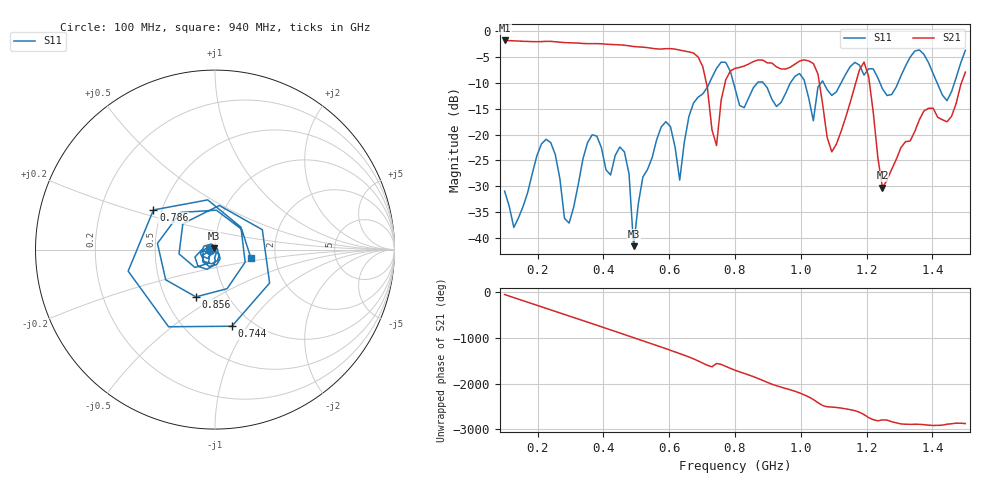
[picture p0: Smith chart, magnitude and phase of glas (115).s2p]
! NanoVNA-App
! Date: 2025-09-25 15:56:22
! Start: 100MHz Stop: 1,5GHz Points: 101
! S-Parameter data: F S11 S21 S12 S22
# Hz S RI R 50
!  Frequency  S11_Real  S11_Imag  S21_Real  S21_Imag  S12_Real  S12_Imag  S22_Real  S22_Imag
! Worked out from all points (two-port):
!   101 points, 100 MHz to 1.5 GHz, reference 50 ohm
!   highest |S21| = -1.80 dB at 100 MHz (marker M1); lowest = -30.3 dB at 1.248 GHz (marker M2)
!   |S21| within 3 dB of the highest: start of sweep to 684.2 MHz
!   lowest |S11| = -41.6 dB at 492 MHz (marker M3), VSWR 1.02, Z = 49.5 + j0.635 ohm
!   |S11| at or under -10 dB: start of sweep to 722.4 MHz; 795.5 MHz to 867.9 MHz (72.47 MHz wide, 8.71 % of centre); 886.1 MHz to 968.2 MHz (82.11 MHz wide, 8.86 % of centre) (the widest 3 of 7)
!   S12 and S22 are empty: the file has one direction only
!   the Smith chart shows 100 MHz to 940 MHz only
!   S11 on the Smith chart (normalised r, x): 100 MHz: 0.95, -0.01; 744 MHz: 0.81, -0.85; 786 MHz: 0.45, +0.24; 856 MHz: 0.71, -0.41; 940 MHz: 1.49, -0.14
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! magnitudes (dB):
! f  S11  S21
! 100 MHz  -31.0  -1.8
! 128 MHz  -38.0  -1.9
! 226 MHz  -20.9  -2.0
! 296 MHz  -37.1  -2.2
! 338 MHz  -24.7  -2.4
! 464 MHz  -23.4  -2.7
! 492 MHz  -41.6  -3.0
! 576 MHz  -18.5  -3.5
! 632 MHz  -28.8  -3.7
! 702 MHz  -12.1  -6.8
! 744 MHz  -7.2  -22.1
! 786 MHz  -7.8  -7.7
! 800 MHz  -11.1  -7.2
! 856 MHz  -10.9  -5.9
! 940 MHz  -13.8  -7.3
! 1.038 GHz  -17.3  -6.3
! 1.094 GHz  -12.4  -23.4
! 1.192 GHz  -8.5  -6.0
! 1.248 GHz  -11.2  -30.3
! 1.276 GHz  -12.3  -26.7
! 1.444 GHz  -13.5  -17.5
! 1.5 GHz  -3.7  -7.9
